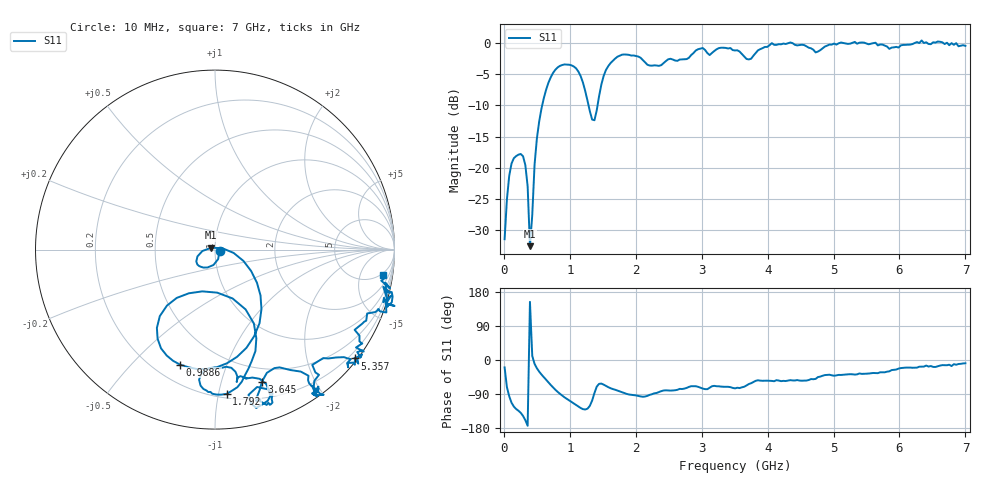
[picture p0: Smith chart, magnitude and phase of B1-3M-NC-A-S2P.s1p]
!File created by NanoVNA
# Hz S RI R 50
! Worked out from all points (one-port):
!   201 points, 10 MHz to 7 GHz, reference 50 ohm
!   lowest |S11| = -32.6 dB at 394.4 MHz (marker M1), VSWR 1.05, Z = 47.9 + j1.01 ohm
!   |S11| at or under -10 dB: start of sweep to 580.2 MHz; 1.283 GHz to 1.42 GHz (136.8 MHz wide, 10.1 % of centre)
!   S11 on the Smith chart (normalised r, x): 10 MHz: 1.05, -0.02; 988.6 MHz: 0.30, -0.70; 1.792 GHz: 0.23, -1.06; 3.645 GHz: 0.36, -1.35; 5.357 GHz: 0.06, -2.91; 7 GHz: 4, -12
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1e7  0.0252 -0.00894
4.495e7  0.0175 -0.0529
1.1485e8  -0.0416 -0.0996
2.5465e8  -0.0978 -0.0838
3.595e8  -0.0704 -0.0079
3.9445e8  -0.021 0.0105
4.6435e8  0.1039 -0.0186
5.692e8  0.2337 -0.1846
8.8375e8  -0.0442 -0.6648
9.886e8  -0.1942 -0.641
1.1983e9  -0.3075 -0.3707
1.37305e9  0.0128 -0.2399
1.51285e9  0.2304 -0.4943
1.7575e9  0.095 -0.786
1.79245e9  0.0647 -0.8041
2.107e9  -0.0887 -0.7248
2.63125e9  0.1413 -0.7051
2.91085e9  0.3088 -0.815
3.505e9  0.2278 -0.8411
3.6448e9  0.2605 -0.7374
3.8545e9  0.5207 -0.7028
4.37875e9  0.5877 -0.8055
4.72825e9  0.5421 -0.6424
4.93795e9  0.7568 -0.6099
5.2525e9  0.7844 -0.6013
5.35735e9  0.7789 -0.6065
6.12625e9  0.909 -0.3314
7e9  0.9383 -0.1418
